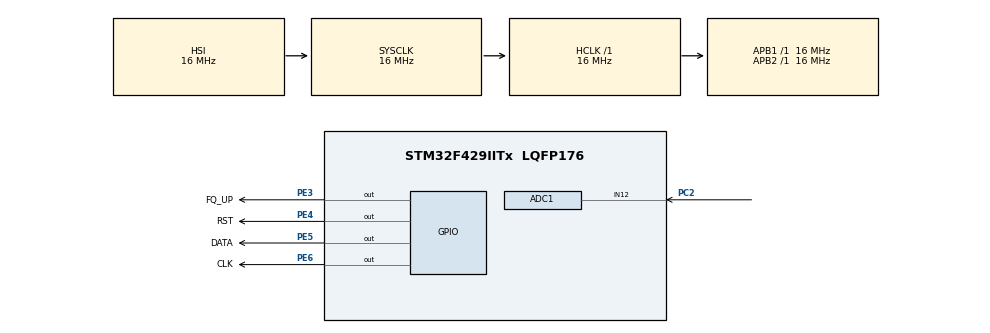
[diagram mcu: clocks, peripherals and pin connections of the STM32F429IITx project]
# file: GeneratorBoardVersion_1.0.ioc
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ADC1.Channel-2\#ChannelRegularConversion=ADC_CHANNEL_12
ADC1.NbrOfConversionFlag=1
ADC1.Rank-2\#ChannelRegularConversion=1
ADC1.SamplingTime-2\#ChannelRegularConversion=ADC_SAMPLETIME_3CYCLES
ADC1.master=1
Mcu.Family=STM32F4
Mcu.Name=STM32F429IITx
Mcu.Package=LQFP176
NVIC.PriorityGroup=NVIC_PRIORITYGROUP_4
PC2.Signal=ADCx_IN12
PE3.GPIO_Label=FQ_UP
PE3.Signal=GPIO_Output
PE4.GPIO_Label=RST
PE4.Signal=GPIO_Output
PE5.GPIO_Label=DATA
PE5.Signal=GPIO_Output
PE6.GPIO_Label=CLK
PE6.Signal=GPIO_Output
ProjectManager.HeapSize=0x200
ProjectManager.StackSize=0x400
ProjectManager.TargetToolchain=SW4STM32
RCC.AHBFreq_Value=16000000
RCC.APB1Freq_Value=16000000
RCC.APB2Freq_Value=16000000
RCC.CortexFreq_Value=16000000
RCC.HSE_VALUE=25000000
RCC.HSI_VALUE=16000000
RCC.LSE_VALUE=32768
RCC.SYSCLKFreq_VALUE=16000000
RCC.VCOOutputFreq_Value=192000000
SH.ADCx_IN12.0=ADC1_IN12,IN12
board=custom

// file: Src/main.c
/**
  ******************************************************************************
  * @file           : main.c
  * @brief          : Main program body
  ******************************************************************************
  ** This notice applies to any and all portions of this file
  * that are not between comment pairs USER CODE BEGIN and
  * USER CODE END. Other portions of this file, whether
  * inserted by the user or by software development tools
  * are owned by their respective copyright owners.
  *
  * COPYRIGHT(c) 2019 STMicroelectronics
  *
  * Redistribution and use in source and binary forms, with or without modification,
  * are permitted provided that the following conditions are met:
  *   1. Redistributions of source code must retain the above copyright notice,
  *      this list of conditions and the following disclaimer.
  *   2. Redistributions in binary form must reproduce the above copyright notice,
  *      this list of conditions and the following disclaimer in the documentation
  *      and/or other materials provided with the distribution.
  *   3. Neither the name of STMicroelectronics nor the names of its contributors
  *      may be used to endorse or promote products derived from this software
  *      without specific prior written permission.
  *
  * THIS SOFTWARE IS PROVIDED BY THE COPYRIGHT HOLDERS AND CONTRIBUTORS "AS IS"
  * AND ANY EXPRESS OR IMPLIED WARRANTIES, INCLUDING, BUT NOT LIMITED TO, THE
  * IMPLIED WARRANTIES OF MERCHANTABILITY AND FITNESS FOR A PARTICULAR PURPOSE ARE
  * DISCLAIMED. IN NO EVENT SHALL THE COPYRIGHT HOLDER OR CONTRIBUTORS BE LIABLE
  * FOR ANY DIRECT, INDIRECT, INCIDENTAL, SPECIAL, EXEMPLARY, OR CONSEQUENTIAL
  * DAMAGES (INCLUDING, BUT NOT LIMITED TO, PROCUREMENT OF SUBSTITUTE GOODS OR
  * SERVICES; LOSS OF USE, DATA, OR PROFITS; OR BUSINESS INTERRUPTION) HOWEVER
  * CAUSED AND ON ANY THEORY OF LIABILITY, WHETHER IN CONTRACT, STRICT LIABILITY,
  * OR TORT (INCLUDING NEGLIGENCE OR OTHERWISE) ARISING IN ANY WAY OUT OF THE USE
  * OF THIS SOFTWARE, EVEN IF ADVISED OF THE POSSIBILITY OF SUCH DAMAGE.
  *
  ******************************************************************************
  */
#include "main.h"
#include "stm32f4xx_hal.h"

ADC_HandleTypeDef hadc1;

/* USER CODE BEGIN PV */
/* Private variables ---------------------------------------------------------*/
uint32_t PomiarADC;
uint32_t frik;
uint32_t aktualny;
uint32_t resultF;
uint32_t rfreq;
uint32_t VoPM;
/* USER CODE END PV */

void SystemClock_Config(void);
static void MX_GPIO_Init(void);
static void MX_ADC1_Init(void);

/* USER CODE BEGIN PFP */
/* Private function prototypes -----------------------------------------------*/

/* USER CODE END PFP */

int main(void)
{

  /* MCU Configuration----------------------------------------------------------*/

  /* Reset of all peripherals, Initializes the Flash interface and the Systick. */
  HAL_Init();

  /* Configure the system clock */
  SystemClock_Config();

  /* Initialize all configured peripherals */
  MX_GPIO_Init();
  MX_ADC1_Init();
  /* USER CODE BEGIN 2 */
  HAL_ADC_Start(&hadc1);

  //Begin of Serial initialization sequence

  HAL_GPIO_WritePin(CLK_GPIO_Port,CLK_Pin, GPIO_PIN_RESET);
  HAL_GPIO_WritePin(CLK_GPIO_Port,CLK_Pin, GPIO_PIN_SET);
  HAL_GPIO_WritePin(CLK_GPIO_Port,CLK_Pin, GPIO_PIN_RESET);
  HAL_GPIO_WritePin(FQ_UP_GPIO_Port,FQ_UP_Pin,GPIO_PIN_RESET);
  HAL_GPIO_WritePin(FQ_UP_GPIO_Port,FQ_UP_Pin,GPIO_PIN_SET);
  HAL_GPIO_WritePin(FQ_UP_GPIO_Port,FQ_UP_Pin,GPIO_PIN_RESET);

 firstiterationLV();

  /* USER CODE END 2 */

  /* Infinite loop */
  /* USER CODE BEGIN WHILE */
  while (1)
  {

	  if(rfreq<(26000000) || rfreq>(28000000))
	 	  {
	 		   firstiterationLV();
	 	  }

	 	  modulationLV2();

  /* USER CODE END WHILE */

  }

}

void SystemClock_Config(void)
{

  RCC_OscInitTypeDef RCC_OscInitStruct;
  RCC_ClkInitTypeDef RCC_ClkInitStruct;

    /**Configure the main internal regulator output voltage
    */
  __HAL_RCC_PWR_CLK_ENABLE();

  __HAL_PWR_VOLTAGESCALING_CONFIG(PWR_REGULATOR_VOLTAGE_SCALE3);

    /**Initializes the CPU, AHB and APB busses clocks
    */
  RCC_OscInitStruct.OscillatorType = RCC_OSCILLATORTYPE_HSI;
  RCC_OscInitStruct.HSIState = RCC_HSI_ON;
  RCC_OscInitStruct.HSICalibrationValue = 16;
  RCC_OscInitStruct.PLL.PLLState = RCC_PLL_NONE;
  if (HAL_RCC_OscConfig(&RCC_OscInitStruct) != HAL_OK)
  {
    _Error_Handler(__FILE__, __LINE__);
  }

    /**Initializes the CPU, AHB and APB busses clocks
    */
  RCC_ClkInitStruct.ClockType = RCC_CLOCKTYPE_HCLK|RCC_CLOCKTYPE_SYSCLK
                              |RCC_CLOCKTYPE_PCLK1|RCC_CLOCKTYPE_PCLK2;
  RCC_ClkInitStruct.SYSCLKSource = RCC_SYSCLKSOURCE_HSI;
  RCC_ClkInitStruct.AHBCLKDivider = RCC_SYSCLK_DIV1;
  RCC_ClkInitStruct.APB1CLKDivider = RCC_HCLK_DIV1;
  RCC_ClkInitStruct.APB2CLKDivider = RCC_HCLK_DIV1;

  if (HAL_RCC_ClockConfig(&RCC_ClkInitStruct, FLASH_LATENCY_0) != HAL_OK)
  {
    _Error_Handler(__FILE__, __LINE__);
  }

    /**Configure the Systick interrupt time
    */
  HAL_SYSTICK_Config(HAL_RCC_GetHCLKFreq()/1000);

    /**Configure the Systick
    */
  HAL_SYSTICK_CLKSourceConfig(SYSTICK_CLKSOURCE_HCLK);

  /* SysTick_IRQn interrupt configuration */
  HAL_NVIC_SetPriority(SysTick_IRQn, 0, 0);
}

/* ADC1 init function */
static void MX_ADC1_Init(void)
{

  ADC_ChannelConfTypeDef sConfig;

    /**Configure the global features of the ADC (Clock, Resolution, Data Alignment and number of conversion)
    */
  hadc1.Instance = ADC1;
  hadc1.Init.ClockPrescaler = ADC_CLOCK_SYNC_PCLK_DIV2;
  hadc1.Init.Resolution = ADC_RESOLUTION_12B;
  hadc1.Init.ScanConvMode = DISABLE;
  hadc1.Init.ContinuousConvMode = DISABLE;
  hadc1.Init.DiscontinuousConvMode = DISABLE;
  hadc1.Init.ExternalTrigConvEdge = ADC_EXTERNALTRIGCONVEDGE_NONE;
  hadc1.Init.ExternalTrigConv = ADC_SOFTWARE_START;
  hadc1.Init.DataAlign = ADC_DATAALIGN_RIGHT;
  hadc1.Init.NbrOfConversion = 1;
  hadc1.Init.DMAContinuousRequests = DISABLE;
  hadc1.Init.EOCSelection = ADC_EOC_SINGLE_CONV;
  if (HAL_ADC_Init(&hadc1) != HAL_OK)
  {
    _Error_Handler(__FILE__, __LINE__);
  }

    /**Configure for the selected ADC regular channel its corresponding rank in the sequencer and its sample time.
    */
  sConfig.Channel = ADC_CHANNEL_12;
  sConfig.Rank = 1;
  sConfig.SamplingTime = ADC_SAMPLETIME_3CYCLES;
  if (HAL_ADC_ConfigChannel(&hadc1, &sConfig) != HAL_OK)
  {
    _Error_Handler(__FILE__, __LINE__);
  }

}

/** Configure pins as
        * Analog
        * Input
        * Output
        * EVENT_OUT
        * EXTI
*/
static void MX_GPIO_Init(void)
{

  GPIO_InitTypeDef GPIO_InitStruct;

  /* GPIO Ports Clock Enable */
  __HAL_RCC_GPIOE_CLK_ENABLE();
  __HAL_RCC_GPIOC_CLK_ENABLE();

  /*Configure GPIO pin Output Level */
  HAL_GPIO_WritePin(GPIOE, FQ_UP_Pin|RST_Pin|DATA_Pin|CLK_Pin, GPIO_PIN_RESET);

  /*Configure GPIO pins : FQ_UP_Pin RST_Pin DATA_Pin CLK_Pin */
  GPIO_InitStruct.Pin = FQ_UP_Pin|RST_Pin|DATA_Pin|CLK_Pin;
  GPIO_InitStruct.Mode = GPIO_MODE_OUTPUT_PP;
  GPIO_InitStruct.Pull = GPIO_NOPULL;
  GPIO_InitStruct.Speed = GPIO_SPEED_FREQ_LOW;
  HAL_GPIO_Init(GPIOE, &GPIO_InitStruct);

}

/* USER CODE BEGIN 4 */
void outOne() {
	HAL_GPIO_WritePin(CLK_GPIO_Port,CLK_Pin, GPIO_PIN_RESET);
	HAL_GPIO_WritePin(DATA_GPIO_Port, DATA_Pin, GPIO_PIN_SET);
	HAL_GPIO_WritePin(CLK_GPIO_Port,CLK_Pin, GPIO_PIN_SET);
	HAL_GPIO_WritePin(DATA_GPIO_Port, DATA_Pin, GPIO_PIN_RESET);

}
void outZero() {
	HAL_GPIO_WritePin(CLK_GPIO_Port,CLK_Pin, GPIO_PIN_RESET);
	HAL_GPIO_WritePin(DATA_GPIO_Port, DATA_Pin, GPIO_PIN_RESET);
	HAL_GPIO_WritePin(CLK_GPIO_Port,CLK_Pin, GPIO_PIN_SET);
}
void lastWord()
{
	//W0 = 00001001	last word		Final control byte, all 0x09 for 9851 chip
		outOne();
		outZero();
		outZero();
		outOne();
		outZero();
		outZero();
		outZero();
		outZero();
}

void sendFrequency(uint32_t frequency) {

	uint32_t freq =(frequency * 4294967295)/(150000000);

for(uint32_t i=0;i<32;i++)
		  {if (freq%2==1)
			  outOne();
		  else
			  outZero();
		        freq = freq >> 1;
		  }
lastWord();

   HAL_GPIO_WritePin(FQ_UP_GPIO_Port,FQ_UP_Pin,GPIO_PIN_SET);
   HAL_GPIO_WritePin(FQ_UP_GPIO_Port,FQ_UP_Pin,GPIO_PIN_RESET);
}
void MeasureADC(uint32_t iterations)
{
	for (uint32_t i=0; i<iterations ; i++)
	{
		if(HAL_ADC_PollForConversion(&hadc1, 10)==HAL_OK)
			{
				PomiarADC=PomiarADC+HAL_ADC_GetValue(&hadc1);
				HAL_ADC_Start(&hadc1);
			}
	} PomiarADC=PomiarADC/iterations;

}

//first iteration from 26,5MHz to 27,5MHz 	 accuracy 10kHz

void firstiterationLV()
{
	int beginF=25000000;
	int endF=29000000;
	int diffF=endF-beginF;
	int stepF=diffF/100;
	//int stepF=;
	int firstF=0, secondF=0;
	int lowest1V=4096,lowest2V=4097;
	int frequency=0;
	for(int i=0;i<100;i++)
	{
		frequency =stepF*i+beginF;//frequency =i*1000000;
		sendFrequency(frequency);
		MeasureADC(150);

	   if(lowest1V>PomiarADC)
	   {
		   secondF=firstF;
		   lowest2V=lowest1V;
		   firstF=frequency;
		   lowest1V=PomiarADC;
	   }
	   else if(lowest2V>PomiarADC)
	   {
		   secondF=frequency;
		   lowest2V=PomiarADC;
	   }
	}
	/***************************************************************
	 *
	 *
	 * 		Second iteration
	 * 		accuracy 10kHz
	 *
	 * *************************************************************/
		if(firstF<secondF)
		{
			beginF=firstF;
			endF=secondF;
		}
		else
		{
			endF=firstF;
			beginF=secondF;
		}
		diffF=endF-beginF;
		stepF=diffF/10;
		for(int j=0;j<10;j++)
			{
				frequency =stepF*j+beginF;
				sendFrequency(frequency);
				MeasureADC(15);

			   if(lowest1V>PomiarADC)
			   {
				   secondF=firstF;
				   lowest2V=lowest1V;
				   firstF=frequency;
				   lowest1V=PomiarADC;
			   }
			   else if(lowest2V>PomiarADC)
			   {
				   secondF=frequency;
				   lowest2V=PomiarADC;
			   }
			}

	/***************************************************************
	 *
	 *
	 * 		Third iteration
	 *		accuracy 100Hz
	 *
	 * *************************************************************/
		if(firstF<secondF)
		{
			beginF=firstF;
			endF=secondF;
		}
		else
		{
			endF=firstF;
			beginF=secondF;
		}
		diffF=endF-beginF;
		stepF=diffF/10;
		for(int j=0;j<10;j++)
			{
				frequency =stepF*j+beginF;
				sendFrequency(frequency);
				MeasureADC(15);

			   if(lowest1V>PomiarADC)
			   {
				   secondF=firstF;
				   lowest2V=lowest1V;
				   firstF=frequency;
				   lowest1V=PomiarADC;
			   }
			   else if(lowest2V>PomiarADC)
			   {
				   secondF=frequency;
				   lowest2V=PomiarADC;
			   }
			}

	sendFrequency(firstF);
	rfreq=firstF;
}

void modulationLV2()//Perturbation and observe method (P&O)
{
	uint32_t FStep=5000;//Hz
	MeasureADC(800);
	int test1F=rfreq-FStep;
	int test2F=rfreq+FStep;
	/*present freq*/
	VoPM=PomiarADC;

	/*test lower*/
	sendFrequency(test1F);
	MeasureADC(800);
	int lowerTestF_ADC=PomiarADC;
	/*test higher*/
	sendFrequency(test1F);
	MeasureADC(800);
	int higherTestF_ADC=PomiarADC;

	if(lowerTestF_ADC<VoPM)
	{
		rfreq=test1F;
	}
	else if(higherTestF_ADC<VoPM)
	{
		rfreq=test2F;
	}
	sendFrequency(rfreq);

}

/* USER CODE END 4 */

void _Error_Handler(char *file, int line)
{
  while(1)
  {
  }
}

/************************ (C) COPYRIGHT STMicroelectronics *****END OF FILE****/
